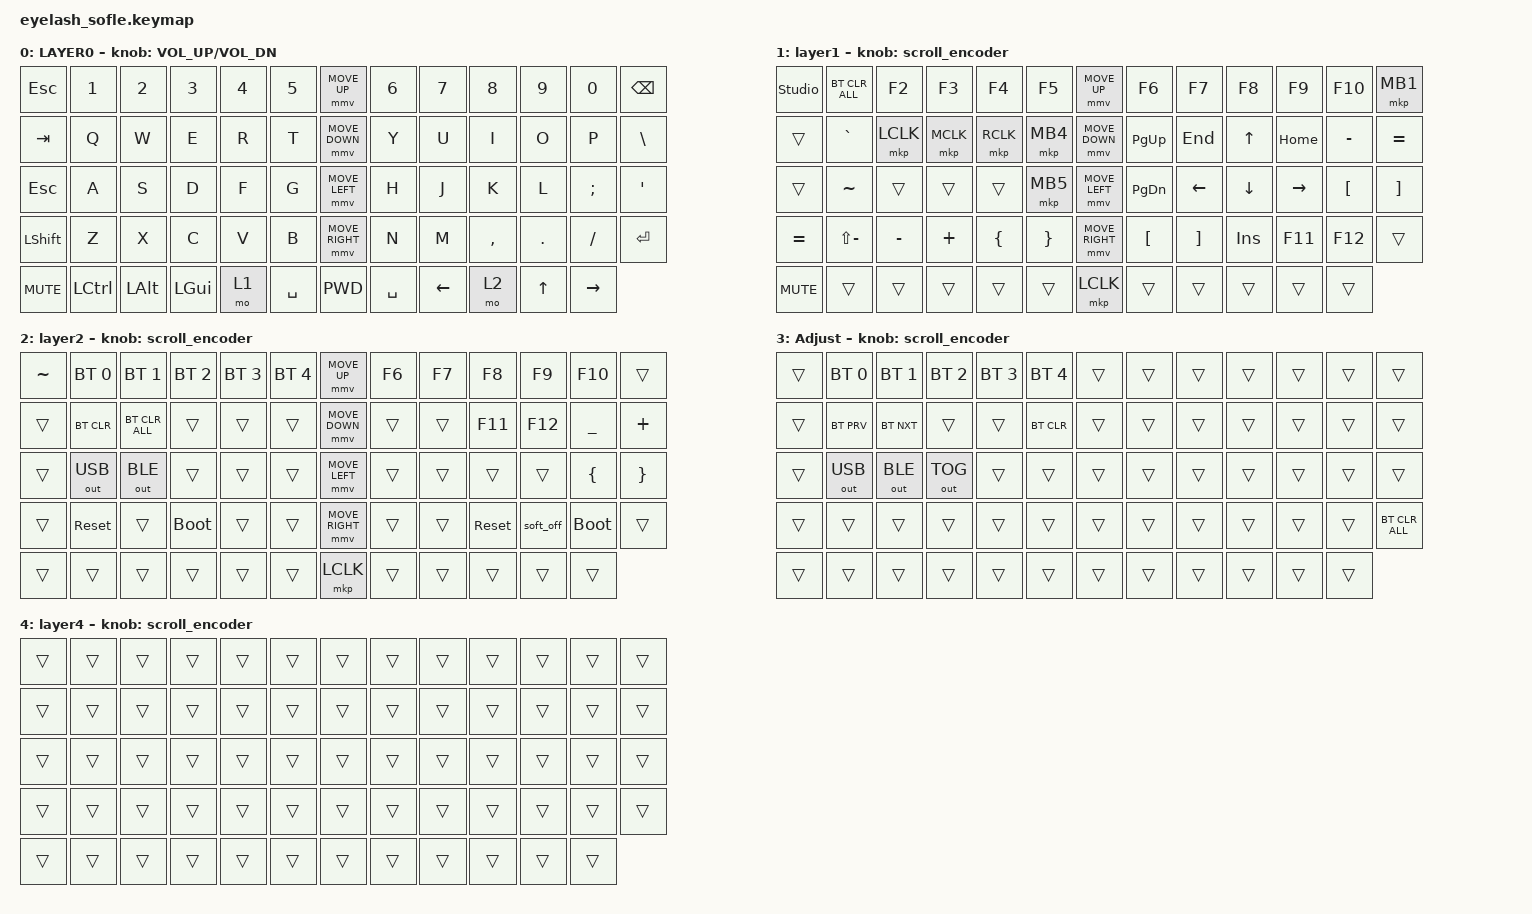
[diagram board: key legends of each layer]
#define ZMK_POINTING_DEFAULT_MOVE_VAL 1200  // 600
#define ZMK_POINTING_DEFAULT_SCRL_VAL 25   // 10

#include <input/processors.dtsi>
#include <zephyr/dt-bindings/input/input-event-codes.h>
#include <behaviors.dtsi>
#include <dt-bindings/zmk/bt.h>
#include <dt-bindings/zmk/keys.h>
#include <dt-bindings/zmk/outputs.h>
#include <dt-bindings/zmk/pointing.h>

&mmv_input_listener { input-processors = <&zip_xy_scaler 2 1>; };

&msc_input_listener { input-processors = <&zip_scroll_scaler 2 1>; };

&msc {
    acceleration-exponent = <1>;      // 0
    time-to-max-speed-ms = <100>;       // 300
    delay-ms = <0>;                   // 0
};

&mmv {
    time-to-max-speed-ms = <500>;
    acceleration-exponent = <1>;
    trigger-period-ms = <16>;
};

&soft_off { hold-time-ms = <2000>; };

/ {
    /*
     * Layer indices: 0=Base, 1=Lower (left thumb), 2=Raise (right thumb),
     * 3=Adjust (Lower + Raise). Adjust activates momentarily when both
     * layers are active, in either press order, and deactivates when either
     * thumb is released. Lower/Raise thumb positions stay transparent on
     * intermediate layers so either thumb can be pressed second.
     *
     * Verify by pressing Lower alone, Raise alone, then both together;
     * release the thumbs in either order and confirm Adjust deactivates.
     * Saved Studio bindings override compiled defaults after flashing.
     * See README_EN.md for backup/Restore Stock Settings and testing.
     * eyelash_sofle.json describes physical layout, not Studio bindings.
     */
    conditional_layers {
        compatible = "zmk,conditional-layers";

        tri_layer {
            if-layers = <1 2>;
            then-layer = <3>;
        };
    };

    scroll_encoder: scroll_encoder {
        compatible = "zmk,behavior-sensor-rotate";
        #sensor-binding-cells = <0>;
        bindings = <&msc SCRL_DOWN>, <&msc SCRL_UP>;

        tap-ms = <100>;
    };

    behaviors {
    };

    combos {
        compatible = "zmk,combos";

        softoff {
            bindings = <&soft_off>;
            key-positions = <14 28 40>;
        };
    };

    macros {
        PWD: PWD {
            compatible = "zmk,behavior-macro";
            #binding-cells = <0>;
            bindings =
                <&kp LS(C) &kp O &kp L &kp L &kp A &kp P &kp S &kp E &kp LS(C) &kp O &kp L &kp L &kp A &kp P &kp S &kp E &kp EXCL &kp N1 &kp N8>,
                <&macro_wait_time 10>,
                <&kp ENTER>;

            label = "PWD";
            wait-ms = <10>;
            tap-ms = <5>;
        };

        FORMAT_JSON: FORMAT_JSON {
            compatible = "zmk,behavior-macro";
            #binding-cells = <0>;
            bindings = <&kp LG(LA(LS(J)))>;
            label = "FORMAT_JSON";
        };

        FORMAT_XML: FORMAT_XML {
            compatible = "zmk,behavior-macro";
            #binding-cells = <0>;
            bindings = <&kp LS(LA(LG(L)))>;
            label = "FORMAT_XML";
        };

        GLOPRO: GLOPRO {
            compatible = "zmk,behavior-macro";
            #binding-cells = <0>;
            bindings =
                <&kp S &kp T &kp E &kp V &kp E &kp N &kp DOT &kp B &kp O &kp W &kp M &kp A &kp N>,
                <&macro_wait_time 10>,
                <&kp TAB>,
                <&macro_wait_time 10>,
                <&kp LS(C) &kp O &kp L &kp L &kp A &kp P &kp S &kp E &kp LS(C) &kp O &kp L &kp L &kp A &kp P &kp S &kp E &kp EXCL &kp N1 &kp N8>,
                <&macro_wait_time 10>,
                <&kp ENTER>;

            label = "GLOPRO";
        };
    };

    keymap {
        compatible = "zmk,keymap";

        layer0 {
            bindings = <
&kp ESC     &kp N1     &kp N2        &kp N3        &kp N4  &kp N5       &mmv MOVE_UP     &kp N6     &kp N7    &kp N8     &kp N9        &kp N0     &kp BACKSPACE
&kp TAB     &kp Q      &kp W         &kp E         &kp R   &kp T        &mmv MOVE_DOWN   &kp Y      &kp U     &kp I      &kp O         &kp P      &kp BSLH
&kp ESC     &kp A      &kp S         &kp D         &kp F   &kp G        &mmv MOVE_LEFT   &kp H      &kp J     &kp K      &kp L         &kp SEMI   &kp APOS
&kp LSHFT   &kp Z      &kp X         &kp C         &kp V   &kp B        &mmv MOVE_RIGHT  &kp N      &kp M     &kp COMMA  &kp DOT       &kp FSLH   &kp ENTER
&kp C_MUTE  &kp LCTRL  &kp LEFT_ALT  &kp LEFT_GUI  &mo 1   &kp SPACE    &PWD             &kp SPACE  &kp LEFT  &mo 2     &kp UP_ARROW  &kp RIGHT
            >;

            sensor-bindings = <&inc_dec_kp C_VOLUME_UP C_VOL_DN>;
            display-name = "LAYER0";
        };

        layer_1 {
            bindings = <
&studio_unlock  &bt BT_CLR_ALL  &kp F2     &kp F3     &kp F4     &kp F5      &mmv MOVE_UP     &kp F6     &kp F7    &kp F8      &kp F9     &kp F10           &mkp MB1
&trans          &kp GRAVE       &mkp LCLK  &mkp MCLK  &mkp RCLK  &mkp MB4    &mmv MOVE_DOWN   &kp PG_UP  &kp END   &kp UP      &kp HOME   &kp MINUS         &kp EQUAL
&trans          &kp TILDE       &trans     &trans     &trans     &mkp MB5    &mmv MOVE_LEFT   &kp PG_DN  &kp LEFT  &kp DOWN    &kp RIGHT  &kp LEFT_BRACKET  &kp RIGHT_BRACKET
&kp EQUAL       &kp LS(MINUS)   &kp MINUS  &kp PLUS   &kp LBRC   &kp RBRC    &mmv MOVE_RIGHT  &kp LBKT   &kp RBKT  &kp INSERT  &kp F11    &kp F12           &trans
&kp C_MUTE      &trans          &trans     &trans     &trans     &trans      &mkp LCLK        &trans     &trans    &trans      &trans     &trans
            >;

            display-name = "layer1";
            sensor-bindings = <&scroll_encoder>;
        };

        layer_2 {
            bindings = <
&kp TILDE  &bt BT_SEL 0  &bt BT_SEL 1    &bt BT_SEL 2  &bt BT_SEL 3  &bt BT_SEL 4    &mmv MOVE_UP     &kp F6  &kp F7  &kp F8      &kp F9     &kp F10      &trans
&trans     &bt BT_CLR    &bt BT_CLR_ALL  &trans        &trans        &trans          &mmv MOVE_DOWN   &trans  &trans  &kp F11     &kp F12    &kp UNDER    &kp PLUS
&trans     &out OUT_USB  &out OUT_BLE    &trans        &trans        &trans          &mmv MOVE_LEFT   &trans  &trans  &trans      &trans     &kp LBRC     &kp RBRC
&trans     &sys_reset    &trans          &bootloader   &trans        &trans          &mmv MOVE_RIGHT  &trans  &trans  &sys_reset  &soft_off  &bootloader  &trans
&trans     &trans        &trans          &trans        &trans        &trans          &mkp LCLK        &trans  &trans  &trans      &trans     &trans
            >;

            display-name = "layer2";
            sensor-bindings = <&scroll_encoder>;
        };

        layer_3 {
            bindings = <
&trans  &bt BT_SEL 0  &bt BT_SEL 1  &bt BT_SEL 2  &bt BT_SEL 3  &bt BT_SEL 4  &trans  &trans  &trans  &trans  &trans  &trans  &trans
&trans  &bt BT_PRV    &bt BT_NXT    &trans        &trans        &bt BT_CLR    &trans  &trans  &trans  &trans  &trans  &trans  &trans
&trans  &out OUT_USB  &out OUT_BLE  &out OUT_TOG  &trans        &trans        &trans  &trans  &trans  &trans  &trans  &trans  &trans
&trans  &trans        &trans        &trans        &trans        &trans        &trans  &trans  &trans  &trans  &trans  &trans  &bt BT_CLR_ALL
&trans  &trans  &trans  &trans  &trans  &trans    &trans  &trans  &trans  &trans  &trans  &trans
            >;

            display-name = "Adjust";
            sensor-bindings = <&scroll_encoder>;
        };

        layer_4 {
            bindings = <
&trans  &trans  &trans  &trans  &trans  &trans    &trans  &trans  &trans  &trans  &trans  &trans  &trans
&trans  &trans  &trans  &trans  &trans  &trans    &trans  &trans  &trans  &trans  &trans  &trans  &trans
&trans  &trans  &trans  &trans  &trans  &trans    &trans  &trans  &trans  &trans  &trans  &trans  &trans
&trans  &trans  &trans  &trans  &trans  &trans    &trans  &trans  &trans  &trans  &trans  &trans  &trans
&trans  &trans  &trans  &trans  &trans  &trans    &trans  &trans  &trans  &trans  &trans  &trans
            >;

            display-name = "layer4";
            sensor-bindings = <&scroll_encoder>;
        };
    };
};
